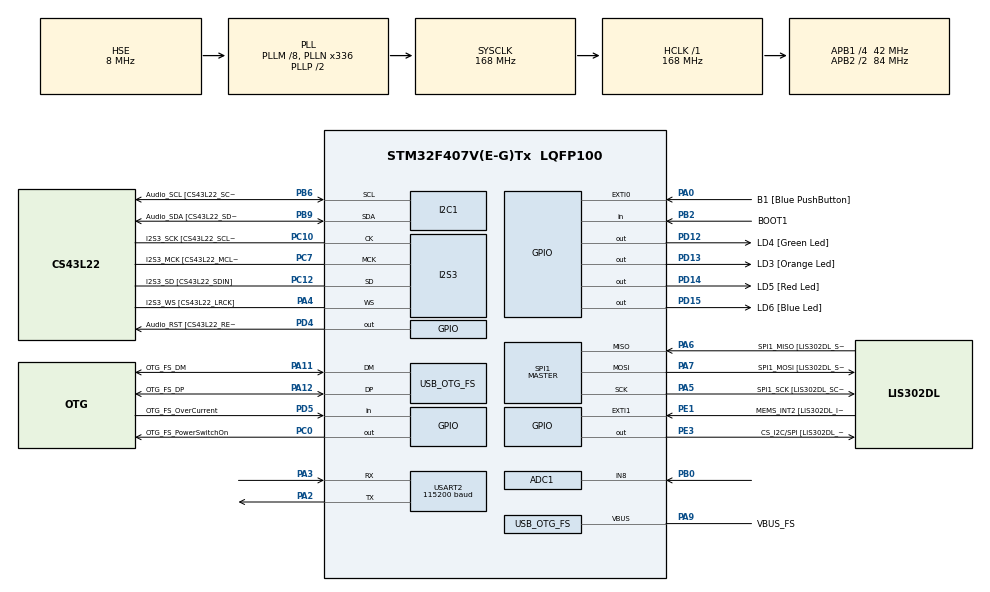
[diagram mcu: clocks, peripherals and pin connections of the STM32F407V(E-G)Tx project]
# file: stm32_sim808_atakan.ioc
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ADC1.Channel-1\#ChannelRegularConversion=ADC_CHANNEL_8
ADC1.ContinuousConvMode=ENABLE
ADC1.NbrOfConversionFlag=1
ADC1.Rank-1\#ChannelRegularConversion=1
ADC1.SamplingTime-1\#ChannelRegularConversion=ADC_SAMPLETIME_3CYCLES
ADC1.master=1
I2S3.AudioFreq-Half_Duplex_Master=I2S_AUDIOFREQ_96K
I2S3.ErrorAudioFreq=-2.34 %
I2S3.ErrorAudioFreq-Half_Duplex_Master=0.8 %
I2S3.FullDuplexMode=I2S_FULLDUPLEXMODE_DISABLE
I2S3.Instance=SPI$Index
I2S3.RealAudioFreq=93.75 KHz
I2S3.RealAudioFreq-Half_Duplex_Master=96.774 KHz
I2S3.VirtualMode=I2S_MODE_MASTER
Mcu.Family=STM32F4
Mcu.Name=STM32F407V(E-G)Tx
Mcu.Package=LQFP100
NVIC.OTG_FS_IRQn=true\:0\:0\:false\:false\:true\:true\:true\:true
NVIC.PriorityGroup=NVIC_PRIORITYGROUP_0
PA0-WKUP.GPIO_Label=B1 [Blue PushButton]
PA0-WKUP.GPIO_ModeDefaultEXTI=GPIO_MODE_EVT_RISING
PA0-WKUP.GPIO_PuPd=GPIO_NOPULL
PA0-WKUP.Signal=GPXTI0
PA10.GPIO_Label=OTG_FS_ID
PA10.GPIO_Mode=GPIO_MODE_AF_PP
PA10.GPIO_PuPd=GPIO_NOPULL
PA10.GPIO_Speed=GPIO_SPEED_FREQ_LOW
PA10.Signal=USB_OTG_FS_ID
PA11.GPIO_Label=OTG_FS_DM
PA11.GPIO_Mode=GPIO_MODE_AF_PP
PA11.GPIO_PuPd=GPIO_NOPULL
PA11.GPIO_Speed=GPIO_SPEED_FREQ_LOW
PA11.Mode=Host_Only
PA11.Signal=USB_OTG_FS_DM
PA12.GPIO_Label=OTG_FS_DP
PA12.GPIO_Mode=GPIO_MODE_AF_PP
PA12.GPIO_PuPd=GPIO_NOPULL
PA12.GPIO_Speed=GPIO_SPEED_FREQ_LOW
PA12.Mode=Host_Only
PA12.Signal=USB_OTG_FS_DP
PA13.GPIO_Label=SWDIO
PA13.Mode=Serial_Wire
PA13.Signal=SYS_JTMS-SWDIO
PA14.GPIO_Label=SWCLK
PA14.Mode=Serial_Wire
PA14.Signal=SYS_JTCK-SWCLK
PA2.Mode=Asynchronous
PA2.Signal=USART2_TX
PA3.Mode=Asynchronous
PA3.Signal=USART2_RX
PA4.GPIO_Label=I2S3_WS [CS43L22_LRCK]
PA4.GPIO_Mode=GPIO_MODE_AF_PP
PA4.GPIO_PuPd=GPIO_NOPULL
PA4.GPIO_Speed=GPIO_SPEED_FREQ_LOW
PA4.Mode=Half_Duplex_Master
PA4.Signal=I2S3_WS
PA5.GPIO_Label=SPI1_SCK [LIS302DL_SCL/SPC]
PA5.GPIO_Mode=GPIO_MODE_AF_PP
PA5.GPIO_PuPd=GPIO_NOPULL
PA5.GPIO_Speed=GPIO_SPEED_FREQ_LOW
PA5.Mode=Full_Duplex_Master
PA5.Signal=SPI1_SCK
PA6.GPIO_Label=SPI1_MISO [LIS302DL_SDO]
PA6.GPIO_Mode=GPIO_MODE_AF_PP
PA6.GPIO_PuPd=GPIO_NOPULL
PA6.GPIO_Speed=GPIO_SPEED_FREQ_LOW
PA6.Mode=Full_Duplex_Master
PA6.Signal=SPI1_MISO
PA7.GPIO_Label=SPI1_MOSI [LIS302DL_SDA/SDI/SDO]
PA7.GPIO_Mode=GPIO_MODE_AF_PP
PA7.GPIO_PuPd=GPIO_NOPULL
PA7.GPIO_Speed=GPIO_SPEED_FREQ_LOW
PA7.Mode=Full_Duplex_Master
PA7.Signal=SPI1_MOSI
PA9.GPIO_Label=VBUS_FS
PA9.GPIO_Mode=GPIO_MODE_INPUT
PA9.GPIO_PuPd=GPIO_NOPULL
PA9.Mode=Activate_VBUS
PA9.Signal=USB_OTG_FS_VBUS
PB0.Signal=ADCx_IN8
PB10.GPIO_Label=CLK_IN [MP45DT02_CLK]
PB10.GPIO_Mode=GPIO_MODE_AF_PP
PB10.GPIO_PuPd=GPIO_NOPULL
PB10.GPIO_Speed=GPIO_SPEED_FREQ_LOW
PB10.Signal=I2S2_CK
PB2.GPIO_Label=BOOT1
PB2.GPIO_Mode=GPIO_MODE_INPUT
PB2.GPIO_PuPd=GPIO_NOPULL
PB2.Signal=GPIO_Input
PB3.GPIO_Label=SWO
PB3.Signal=SYS_JTDO-SWO
PB6.GPIO_Label=Audio_SCL [CS43L22_SCL]
PB6.GPIO_Mode=GPIO_MODE_AF_OD
PB6.GPIO_Pu=GPIO_PULLUP
PB6.GPIO_PuPd=GPIO_NOPULL
PB6.GPIO_Speed=GPIO_SPEED_FREQ_LOW
PB6.Mode=I2C
PB6.Signal=I2C1_SCL
PB9.GPIO_Label=Audio_SDA [CS43L22_SDA]
PB9.GPIO_Mode=GPIO_MODE_AF_OD
PB9.GPIO_Pu=GPIO_PULLUP
PB9.GPIO_PuPd=GPIO_NOPULL
PB9.GPIO_Speed=GPIO_SPEED_FREQ_LOW
PB9.Mode=I2C
PB9.Signal=I2C1_SDA
PC0.GPIO_Label=OTG_FS_PowerSwitchOn
PC0.GPIO_PuPd=GPIO_NOPULL
PC0.GPIO_Speed=GPIO_SPEED_FREQ_LOW
PC0.PinState=GPIO_PIN_SET
PC0.Signal=GPIO_Output
PC10.GPIO_Label=I2S3_SCK [CS43L22_SCLK]
PC10.GPIO_Mode=GPIO_MODE_AF_PP
PC10.GPIO_PuPd=GPIO_NOPULL
PC10.GPIO_Speed=GPIO_SPEED_FREQ_LOW
PC10.Mode=Half_Duplex_Master
PC10.Signal=I2S3_CK
PC12.GPIO_Label=I2S3_SD [CS43L22_SDIN]
PC12.GPIO_Mode=GPIO_MODE_AF_PP
PC12.GPIO_PuPd=GPIO_NOPULL
PC12.GPIO_Speed=GPIO_SPEED_FREQ_LOW
PC12.Mode=Half_Duplex_Master
PC12.Signal=I2S3_SD
PC14-OSC32_IN.GPIO_Label=PC14-OSC32_IN
PC14-OSC32_IN.Mode=LSE-External-Oscillator
PC14-OSC32_IN.Signal=RCC_OSC32_IN
PC15-OSC32_OUT.GPIO_Label=PC15-OSC32_OUT
PC15-OSC32_OUT.Mode=LSE-External-Oscillator
PC15-OSC32_OUT.Signal=RCC_OSC32_OUT
PC3.GPIO_Label=PDM_OUT [MP45DT02_DOUT]
PC3.GPIO_Mode=GPIO_MODE_AF_PP
PC3.GPIO_PuPd=GPIO_NOPULL
PC3.GPIO_Speed=GPIO_SPEED_FREQ_LOW
PC3.Signal=I2S2_SD
PC7.GPIO_Label=I2S3_MCK [CS43L22_MCLK]
PC7.GPIO_Mode=GPIO_MODE_AF_PP
PC7.GPIO_PuPd=GPIO_NOPULL
PC7.GPIO_Speed=GPIO_SPEED_FREQ_LOW
PC7.Mode=Master_Clock_Activated
PC7.Signal=I2S3_MCK
PD12.GPIO_Label=LD4 [Green Led]
PD12.GPIO_PuPd=GPIO_NOPULL
PD12.GPIO_Speed=GPIO_SPEED_FREQ_LOW
PD12.Signal=GPIO_Output
PD13.GPIO_Label=LD3 [Orange Led]
PD13.GPIO_PuPd=GPIO_NOPULL
PD13.GPIO_Speed=GPIO_SPEED_FREQ_LOW
PD13.Signal=GPIO_Output
PD14.GPIO_Label=LD5 [Red Led]
PD14.GPIO_PuPd=GPIO_NOPULL
PD14.GPIO_Speed=GPIO_SPEED_FREQ_LOW
PD14.Signal=GPIO_Output
PD15.GPIO_Label=LD6 [Blue Led]
PD15.GPIO_PuPd=GPIO_NOPULL
PD15.GPIO_Speed=GPIO_SPEED_FREQ_LOW
PD15.Signal=GPIO_Output
PD4.GPIO_Label=Audio_RST [CS43L22_RESET]
PD4.GPIO_PuPd=GPIO_NOPULL
PD4.GPIO_Speed=GPIO_SPEED_FREQ_LOW
PD4.Signal=GPIO_Output
PD5.GPIO_Label=OTG_FS_OverCurrent
PD5.GPIO_Mode=GPIO_MODE_INPUT
PD5.GPIO_PuPd=GPIO_NOPULL
PD5.Signal=GPIO_Input
PE1.GPIO_Label=MEMS_INT2 [LIS302DL_INT2]
PE1.GPIO_ModeDefaultEXTI=GPIO_MODE_EVT_RISING
PE1.GPIO_PuPd=GPIO_NOPULL
PE1.Signal=GPXTI1
PE3.GPIO_Label=CS_I2C/SPI [LIS302DL_CS_I2C/SPI]
PE3.GPIO_PuPd=GPIO_NOPULL
PE3.GPIO_Speed=GPIO_SPEED_FREQ_LOW
PE3.Signal=GPIO_Output
PH0-OSC_IN.GPIO_Label=PH0-OSC_IN
PH0-OSC_IN.Mode=HSE-External-Oscillator
PH0-OSC_IN.Signal=RCC_OSC_IN
PH1-OSC_OUT.GPIO_Label=PH1-OSC_OUT
PH1-OSC_OUT.Mode=HSE-External-Oscillator
PH1-OSC_OUT.Signal=RCC_OSC_OUT
ProjectManager.HeapSize=0x200
ProjectManager.StackSize=0x400
ProjectManager.TargetToolchain=STM32CubeIDE
RCC.48MHZClocksFreq_Value=48000000
RCC.AHBFreq_Value=168000000
RCC.APB1CLKDivider=RCC_HCLK_DIV4
RCC.APB1Freq_Value=42000000
RCC.APB1TimFreq_Value=84000000
RCC.APB2CLKDivider=RCC_HCLK_DIV2
RCC.APB2Freq_Value=84000000
RCC.APB2TimFreq_Value=168000000
RCC.CortexFreq_Value=168000000
RCC.HCLKFreq_Value=168000000
RCC.HSE_VALUE=8000000
RCC.HSI_VALUE=16000000
RCC.PLLM=8
RCC.PLLN=336
RCC.PLLQ=7
RCC.SYSCLKFreq_VALUE=168000000
RCC.SYSCLKSource=RCC_SYSCLKSOURCE_PLLCLK
RCC.VCOOutputFreq_Value=336000000
SH.ADCx_IN8.0=ADC1_IN8,IN8
SPI1.BaudRatePrescaler-Full_Duplex_Master=SPI_BAUDRATEPRESCALER_2
SPI1.CalculateBaudRate-Full_Duplex_Master=42.0 MBits/s
SPI1.Direction=SPI_DIRECTION_2LINES
SPI1.Mode=SPI_MODE_MASTER
SPI1.Mode-Full_Duplex_Master=SPI_MODE_MASTER
SPI1.VirtualType=VM_MASTER
USART2.BaudRate=115200
USART2.VirtualMode=VM_ASYNC
USB_HOST.BSP.number=1
USB_HOST.USBH_HandleTypeDef-CDC_FS=hUsbHostFS
USB_HOST.VirtualModeFS=Cdc
USB_HOST0.BSP.STBoard=false
USB_HOST0.BSP.api=Unknown
USB_HOST0.BSP.instance=PC0
USB_HOST0.BSP.ip=GPIO
USB_HOST0.BSP.mode=Output
USB_HOST0.BSP.name=Drive_VBUS_FS
USB_HOST0.BSP.solution=PC0
USB_OTG_FS.VirtualMode=Host_Only
USB_OTG_FS.phy_itface=HCD_PHY_EMBEDDED
VP_USB_HOST_VS_USB_HOST_CDC_FS.Mode=CDC_FS
board=STM32F407G-DISC1

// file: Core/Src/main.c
/* USER CODE BEGIN Header */
/**
  ******************************************************************************
  * @file           : main.c
  * @brief          : Main program body
  ******************************************************************************
  * @attention
  *
  * Copyright (c) 2025 STMicroelectronics.
  * All rights reserved.
  *
  * This software is licensed under terms that can be found in the LICENSE file
  * in the root directory of this software component.
  * If no LICENSE file comes with this software, it is provided AS-IS.
  *
  ******************************************************************************
  */
/* USER CODE END Header */
#include "main.h"
#include "usb_host.h"

/* USER CODE BEGIN Includes */
#include <string.h>
#include <stdio.h>
#include <stdlib.h> // rand() ve srand() için
#include <time.h>   // srand() için

/* USER CODE END Includes */

ADC_HandleTypeDef hadc1;

I2C_HandleTypeDef hi2c1;

I2S_HandleTypeDef hi2s3;

SPI_HandleTypeDef hspi1;

UART_HandleTypeDef huart2;

/* USER CODE BEGIN PV */
float pot=0;
float hiz=0.0;
/* USER CODE END PV */

void SystemClock_Config(void);
static void MX_GPIO_Init(void);
static void MX_I2C1_Init(void);
static void MX_I2S3_Init(void);
static void MX_SPI1_Init(void);
static void MX_USART2_UART_Init(void);
static void MX_ADC1_Init(void);
void MX_USB_HOST_Process(void);

/* USER CODE BEGIN PFP */
void send_at_command(char *command, uint16_t delay);
void send_data_to_server(float voltages[20], float temperatures[6], float current, float speed, float energy, float voltage_sum);
void send_data_cont(float voltages[20], float temperatures[6], float current, float speed, float energy, float voltage_sum);
float get_gps_speed();
/* USER CODE END PFP */

/* USER CODE BEGIN 0 */
struct carData{
	  float voltage1;
	  float voltage2;
	  float voltage3;
	  float voltage4;
	  float voltage5;
	  float voltage6;
	  float voltage7;
	  float voltage8;
	  float voltage9;
	  float voltage10;
	  float voltage11;
	  float voltage12;
	  float voltage13;
	  float voltage14;
	  float voltage15;
	  float voltage16;
	  float voltage17;
	  float voltage18;
	  float voltage19;
	  float voltage20;
	  float totalVoltage;
	  float batteryTemp1;
	  float batteryTemp2;
	  float batteryTemp3;
	  float batteryTemp4;
	  float testTemp;
	  float motorTemp;
	  float speed;
	  float current;
	  float remainEnergy;
}data1;

/* USER CODE END 0 */

int main(void)
{

  /* MCU Configuration--------------------------------------------------------*/

  /* Reset of all peripherals, Initializes the Flash interface and the Systick. */
  HAL_Init();

  /* Configure the system clock */
  SystemClock_Config();

  /* Initialize all configured peripherals */
  MX_GPIO_Init();
  MX_I2C1_Init();
  MX_I2S3_Init();
  MX_SPI1_Init();
  MX_USB_HOST_Init();
  MX_USART2_UART_Init();
  MX_ADC1_Init();
  /* USER CODE BEGIN 2 */
  float voltages[20] = {
      	             99.99, 99.99, 99.99, 99.99, 99.99, 99.99, 99.99, 99.99, 99.99, 99.99,
      	             99.99, 99.99, 99.99, 99.99, 99.99, 99.99, 99.99, 99.99, 99.99, 99.99};

      	  float temperatures[6] = {99.99, 99.99, 99.99, 99.99, 99.99, 99.99};
      	  float current = 99.99;
      	  float speed = 99.99;
      	  float energy = 99.99;
      	  float voltage_sum = 99.99;

  srand(HAL_GetTick());
  send_data_to_server(voltages, temperatures, current, speed, energy, voltage_sum);
  HAL_Delay(1000);
  //get_gps_speed();
  //HAL_Delay(1000);

  /* USER CODE END 2 */

  /* Infinite loop */
  while (1)
  {
    MX_USB_HOST_Process();

    /* USER CODE BEGIN 3 */
    //HAL_ADC_Start(&hadc1);
    //if (HAL_ADC_PollForConversion(&hadc1, HAL_MAX_DELAY) == HAL_OK) {
        //pot = HAL_ADC_GetValue(&hadc1);
    //}
    //mapped=pot/16;
    //get_gps_speed();
    float voltages[20] = {
    	             pot, ((float)(rand()%40)), ((float)(rand()%40)), ((float)(rand()%40)), ((float)(rand()%40)), ((float)(rand()%40)), ((float)(rand()%40)), ((float)(rand()%40)), ((float)(rand()%40)), ((float)(rand()%40)),
					 ((float)(rand()%40)), ((float)(rand()%40)), ((float)(rand()%40)), ((float)(rand()%40)), ((float)(rand()%40)), ((float)(rand()%40)), ((float)(rand()%40)), ((float)(rand()%40)), ((float)(rand()%40))};

    	  float temperatures[6] = {22.3, 23.0, 21.8, 22.5, 23.1, 22.9};
    	  float current = (5+(float)(rand()%30));
    	  float speed = hiz ;
    	  float energy = (60+(float)(rand()%102));
    	  float voltage_sum = 250.0;

    	  send_data_cont(voltages, temperatures, current, speed, energy, voltage_sum);
    	  //HAL_Delay(10);

  }
  //HAL_ADC_Stop(&hadc1);
  /* USER CODE END 3 */
}

void SystemClock_Config(void)
{
  RCC_OscInitTypeDef RCC_OscInitStruct = {0};
  RCC_ClkInitTypeDef RCC_ClkInitStruct = {0};

  /** Configure the main internal regulator output voltage
  */
  __HAL_RCC_PWR_CLK_ENABLE();
  __HAL_PWR_VOLTAGESCALING_CONFIG(PWR_REGULATOR_VOLTAGE_SCALE1);

  /** Initializes the RCC Oscillators according to the specified parameters
  * in the RCC_OscInitTypeDef structure.
  */
  RCC_OscInitStruct.OscillatorType = RCC_OSCILLATORTYPE_HSE;
  RCC_OscInitStruct.HSEState = RCC_HSE_ON;
  RCC_OscInitStruct.PLL.PLLState = RCC_PLL_ON;
  RCC_OscInitStruct.PLL.PLLSource = RCC_PLLSOURCE_HSE;
  RCC_OscInitStruct.PLL.PLLM = 8;
  RCC_OscInitStruct.PLL.PLLN = 336;
  RCC_OscInitStruct.PLL.PLLP = RCC_PLLP_DIV2;
  RCC_OscInitStruct.PLL.PLLQ = 7;
  if (HAL_RCC_OscConfig(&RCC_OscInitStruct) != HAL_OK)
  {
    Error_Handler();
  }

  /** Initializes the CPU, AHB and APB buses clocks
  */
  RCC_ClkInitStruct.ClockType = RCC_CLOCKTYPE_HCLK|RCC_CLOCKTYPE_SYSCLK
                              |RCC_CLOCKTYPE_PCLK1|RCC_CLOCKTYPE_PCLK2;
  RCC_ClkInitStruct.SYSCLKSource = RCC_SYSCLKSOURCE_PLLCLK;
  RCC_ClkInitStruct.AHBCLKDivider = RCC_SYSCLK_DIV1;
  RCC_ClkInitStruct.APB1CLKDivider = RCC_HCLK_DIV4;
  RCC_ClkInitStruct.APB2CLKDivider = RCC_HCLK_DIV2;

  if (HAL_RCC_ClockConfig(&RCC_ClkInitStruct, FLASH_LATENCY_5) != HAL_OK)
  {
    Error_Handler();
  }
}

static void MX_ADC1_Init(void)
{

  ADC_ChannelConfTypeDef sConfig = {0};

  /** Configure the global features of the ADC (Clock, Resolution, Data Alignment and number of conversion)
  */
  hadc1.Instance = ADC1;
  hadc1.Init.ClockPrescaler = ADC_CLOCK_SYNC_PCLK_DIV4;
  hadc1.Init.Resolution = ADC_RESOLUTION_12B;
  hadc1.Init.ScanConvMode = DISABLE;
  hadc1.Init.ContinuousConvMode = ENABLE;
  hadc1.Init.DiscontinuousConvMode = DISABLE;
  hadc1.Init.ExternalTrigConvEdge = ADC_EXTERNALTRIGCONVEDGE_NONE;
  hadc1.Init.ExternalTrigConv = ADC_SOFTWARE_START;
  hadc1.Init.DataAlign = ADC_DATAALIGN_RIGHT;
  hadc1.Init.NbrOfConversion = 1;
  hadc1.Init.DMAContinuousRequests = DISABLE;
  hadc1.Init.EOCSelection = ADC_EOC_SINGLE_CONV;
  if (HAL_ADC_Init(&hadc1) != HAL_OK)
  {
    Error_Handler();
  }

  /** Configure for the selected ADC regular channel its corresponding rank in the sequencer and its sample time.
  */
  sConfig.Channel = ADC_CHANNEL_8;
  sConfig.Rank = 1;
  sConfig.SamplingTime = ADC_SAMPLETIME_3CYCLES;
  if (HAL_ADC_ConfigChannel(&hadc1, &sConfig) != HAL_OK)
  {
    Error_Handler();
  }

}

static void MX_I2C1_Init(void)
{

  hi2c1.Instance = I2C1;
  hi2c1.Init.ClockSpeed = 100000;
  hi2c1.Init.DutyCycle = I2C_DUTYCYCLE_2;
  hi2c1.Init.OwnAddress1 = 0;
  hi2c1.Init.AddressingMode = I2C_ADDRESSINGMODE_7BIT;
  hi2c1.Init.DualAddressMode = I2C_DUALADDRESS_DISABLE;
  hi2c1.Init.OwnAddress2 = 0;
  hi2c1.Init.GeneralCallMode = I2C_GENERALCALL_DISABLE;
  hi2c1.Init.NoStretchMode = I2C_NOSTRETCH_DISABLE;
  if (HAL_I2C_Init(&hi2c1) != HAL_OK)
  {
    Error_Handler();
  }

}

static void MX_I2S3_Init(void)
{

  hi2s3.Instance = SPI3;
  hi2s3.Init.Mode = I2S_MODE_MASTER_TX;
  hi2s3.Init.Standard = I2S_STANDARD_PHILIPS;
  hi2s3.Init.DataFormat = I2S_DATAFORMAT_16B;
  hi2s3.Init.MCLKOutput = I2S_MCLKOUTPUT_ENABLE;
  hi2s3.Init.AudioFreq = I2S_AUDIOFREQ_96K;
  hi2s3.Init.CPOL = I2S_CPOL_LOW;
  hi2s3.Init.ClockSource = I2S_CLOCK_PLL;
  hi2s3.Init.FullDuplexMode = I2S_FULLDUPLEXMODE_DISABLE;
  if (HAL_I2S_Init(&hi2s3) != HAL_OK)
  {
    Error_Handler();
  }

}

static void MX_SPI1_Init(void)
{

  /* SPI1 parameter configuration*/
  hspi1.Instance = SPI1;
  hspi1.Init.Mode = SPI_MODE_MASTER;
  hspi1.Init.Direction = SPI_DIRECTION_2LINES;
  hspi1.Init.DataSize = SPI_DATASIZE_8BIT;
  hspi1.Init.CLKPolarity = SPI_POLARITY_LOW;
  hspi1.Init.CLKPhase = SPI_PHASE_1EDGE;
  hspi1.Init.NSS = SPI_NSS_SOFT;
  hspi1.Init.BaudRatePrescaler = SPI_BAUDRATEPRESCALER_2;
  hspi1.Init.FirstBit = SPI_FIRSTBIT_MSB;
  hspi1.Init.TIMode = SPI_TIMODE_DISABLE;
  hspi1.Init.CRCCalculation = SPI_CRCCALCULATION_DISABLE;
  hspi1.Init.CRCPolynomial = 10;
  if (HAL_SPI_Init(&hspi1) != HAL_OK)
  {
    Error_Handler();
  }

}

static void MX_USART2_UART_Init(void)
{

  huart2.Instance = USART2;
  huart2.Init.BaudRate = 115200;
  huart2.Init.WordLength = UART_WORDLENGTH_8B;
  huart2.Init.StopBits = UART_STOPBITS_1;
  huart2.Init.Parity = UART_PARITY_NONE;
  huart2.Init.Mode = UART_MODE_TX_RX;
  huart2.Init.HwFlowCtl = UART_HWCONTROL_NONE;
  huart2.Init.OverSampling = UART_OVERSAMPLING_16;
  if (HAL_UART_Init(&huart2) != HAL_OK)
  {
    Error_Handler();
  }

}

static void MX_GPIO_Init(void)
{
  GPIO_InitTypeDef GPIO_InitStruct = {0};

  /* GPIO Ports Clock Enable */
  __HAL_RCC_GPIOE_CLK_ENABLE();
  __HAL_RCC_GPIOC_CLK_ENABLE();
  __HAL_RCC_GPIOH_CLK_ENABLE();
  __HAL_RCC_GPIOA_CLK_ENABLE();
  __HAL_RCC_GPIOB_CLK_ENABLE();
  __HAL_RCC_GPIOD_CLK_ENABLE();

  /*Configure GPIO pin Output Level */
  HAL_GPIO_WritePin(CS_I2C_SPI_GPIO_Port, CS_I2C_SPI_Pin, GPIO_PIN_RESET);

  /*Configure GPIO pin Output Level */
  HAL_GPIO_WritePin(OTG_FS_PowerSwitchOn_GPIO_Port, OTG_FS_PowerSwitchOn_Pin, GPIO_PIN_SET);

  /*Configure GPIO pin Output Level */
  HAL_GPIO_WritePin(GPIOD, LD4_Pin|LD3_Pin|LD5_Pin|LD6_Pin
                          |Audio_RST_Pin, GPIO_PIN_RESET);

  /*Configure GPIO pin : CS_I2C_SPI_Pin */
  GPIO_InitStruct.Pin = CS_I2C_SPI_Pin;
  GPIO_InitStruct.Mode = GPIO_MODE_OUTPUT_PP;
  GPIO_InitStruct.Pull = GPIO_NOPULL;
  GPIO_InitStruct.Speed = GPIO_SPEED_FREQ_LOW;
  HAL_GPIO_Init(CS_I2C_SPI_GPIO_Port, &GPIO_InitStruct);

  /*Configure GPIO pin : OTG_FS_PowerSwitchOn_Pin */
  GPIO_InitStruct.Pin = OTG_FS_PowerSwitchOn_Pin;
  GPIO_InitStruct.Mode = GPIO_MODE_OUTPUT_PP;
  GPIO_InitStruct.Pull = GPIO_NOPULL;
  GPIO_InitStruct.Speed = GPIO_SPEED_FREQ_LOW;
  HAL_GPIO_Init(OTG_FS_PowerSwitchOn_GPIO_Port, &GPIO_InitStruct);

  /*Configure GPIO pin : PDM_OUT_Pin */
  GPIO_InitStruct.Pin = PDM_OUT_Pin;
  GPIO_InitStruct.Mode = GPIO_MODE_AF_PP;
  GPIO_InitStruct.Pull = GPIO_NOPULL;
  GPIO_InitStruct.Speed = GPIO_SPEED_FREQ_LOW;
  GPIO_InitStruct.Alternate = GPIO_AF5_SPI2;
  HAL_GPIO_Init(PDM_OUT_GPIO_Port, &GPIO_InitStruct);

  /*Configure GPIO pin : B1_Pin */
  GPIO_InitStruct.Pin = B1_Pin;
  GPIO_InitStruct.Mode = GPIO_MODE_EVT_RISING;
  GPIO_InitStruct.Pull = GPIO_NOPULL;
  HAL_GPIO_Init(B1_GPIO_Port, &GPIO_InitStruct);

  /*Configure GPIO pin : BOOT1_Pin */
  GPIO_InitStruct.Pin = BOOT1_Pin;
  GPIO_InitStruct.Mode = GPIO_MODE_INPUT;
  GPIO_InitStruct.Pull = GPIO_NOPULL;
  HAL_GPIO_Init(BOOT1_GPIO_Port, &GPIO_InitStruct);

  /*Configure GPIO pin : CLK_IN_Pin */
  GPIO_InitStruct.Pin = CLK_IN_Pin;
  GPIO_InitStruct.Mode = GPIO_MODE_AF_PP;
  GPIO_InitStruct.Pull = GPIO_NOPULL;
  GPIO_InitStruct.Speed = GPIO_SPEED_FREQ_LOW;
  GPIO_InitStruct.Alternate = GPIO_AF5_SPI2;
  HAL_GPIO_Init(CLK_IN_GPIO_Port, &GPIO_InitStruct);

  /*Configure GPIO pins : LD4_Pin LD3_Pin LD5_Pin LD6_Pin
                           Audio_RST_Pin */
  GPIO_InitStruct.Pin = LD4_Pin|LD3_Pin|LD5_Pin|LD6_Pin
                          |Audio_RST_Pin;
  GPIO_InitStruct.Mode = GPIO_MODE_OUTPUT_PP;
  GPIO_InitStruct.Pull = GPIO_NOPULL;
  GPIO_InitStruct.Speed = GPIO_SPEED_FREQ_LOW;
  HAL_GPIO_Init(GPIOD, &GPIO_InitStruct);

  /*Configure GPIO pin : OTG_FS_OverCurrent_Pin */
  GPIO_InitStruct.Pin = OTG_FS_OverCurrent_Pin;
  GPIO_InitStruct.Mode = GPIO_MODE_INPUT;
  GPIO_InitStruct.Pull = GPIO_NOPULL;
  HAL_GPIO_Init(OTG_FS_OverCurrent_GPIO_Port, &GPIO_InitStruct);

  /*Configure GPIO pin : MEMS_INT2_Pin */
  GPIO_InitStruct.Pin = MEMS_INT2_Pin;
  GPIO_InitStruct.Mode = GPIO_MODE_EVT_RISING;
  GPIO_InitStruct.Pull = GPIO_NOPULL;
  HAL_GPIO_Init(MEMS_INT2_GPIO_Port, &GPIO_InitStruct);

}

/* USER CODE BEGIN 4 */
void send_at_command(char *command, uint16_t delay) {
    HAL_UART_Transmit(&huart2, (uint8_t *)command, strlen(command), HAL_MAX_DELAY);
    HAL_Delay(delay); // SIM808'den cevap beklemek için gecikme
}

/*float get_gps_speed() {
    char response[256];
    float hiz = 0.0;

    // GPS güç kontrolü ve veri talebi
    send_at_command("AT+CGNSPWR=1\r\n", 1000);  // GPS modülünü aç
    HAL_Delay(1000);  // GPS modülünün aktif hale gelmesi için bekleme
    send_at_command("AT+CGNSINF\r\n", 1000);  // GPS bilgi talebi

    // Yanıtı ayrıştır ve hız bilgisini al
    // +CGNSINF: 1,1,<UTC>,<Latitude>,<Longitude>,<Altitude>,<Speed>,...
    sscanf(response, "+CGNSINF: 1,1,%*[^,],%*[^,],%*[^,],%*[^,],%f", &hiz);

    // GPS modülünü kapat (isteğe bağlı)
    //send_at_command("AT+CGNSPWR=0\r\n", 1000);

    return hiz;
}*/

void send_data_cont(float voltages[20], float temperatures[6], float current, float speed, float energy, float voltage_sum){
	char http_data[64];
	char json_payload[1024]; //voltage 1 vs gibi isimleri yeni database icin v1 v2 vs gibi degistir
	sprintf(json_payload,"{\"v1\": %.2f, \"v2\": %.2f, \"v3\": %.2f, \"v4\": %.2f, "
	            "\"v5\": %.2f, \"v6\": %.2f, \"v7\": %.2f, \"v8\": %.2f, "
	            "\"v9\": %.2f, \"v10\": %.2f, \"v11\": %.2f, \"v12\": %.2f, "
	            "\"v13\": %.2f, \"v14\": %.2f, \"v15\": %.2f, \"v16\": %.2f, "
	            "\"v17\": %.2f, \"v18\": %.2f, \"v19\": %.2f, \"v20\": %.2f, "
	            "\"vt\": %.2f, \"s1\": %.2f, \"s2\": %.2f, "
	            "\"s3\": %.2f, \"s4\": %.2f, \"s5\": %.2f, \"s6\": %.2f, "
	            "\"a\": %.2f, \"h\": %.2f, \"kE\": %.2f}",
	            voltages[0], voltages[1], voltages[2], voltages[3], voltages[4],
	            voltages[5], voltages[6], voltages[7], voltages[8], voltages[9],
	            voltages[10], voltages[11], voltages[12], voltages[13], voltages[14],
	            voltages[15], voltages[16], voltages[17], voltages[18], voltages[19],
	            voltage_sum, temperatures[0], temperatures[1], temperatures[2],
	            temperatures[3], temperatures[4], temperatures[5], current, speed, energy);
	sprintf(http_data, "AT+HTTPDATA=%d,5000\r\n", strlen(json_payload));
    send_at_command(http_data, 100);
    send_at_command(json_payload, 100);

    // POST isteği gönder
    send_at_command("AT+HTTPACTION=1\r\n", 100); // 1: POST
    HAL_Delay(1000); // Veriyi göndermek için biraz zaman tanı

}

void send_data_to_server(float voltages[20], float temperatures[6], float current, float speed, float energy, float voltage_sum) {
    char apn_setup[64];
    char http_init[32];
    char http_start[128];
    char http_data[64];
    char json_payload[2048];

    // JSON payload
    sprintf(json_payload,"{\"v1\": %.2f, \"v2\": %.2f, \"v3\": %.2f, \"v4\": %.2f, "
            "\"v5\": %.2f, \"v6\": %.2f, \"v7\": %.2f, \"v8\": %.2f, "
            "\"v9\": %.2f, \"v10\": %.2f, \"v11\": %.2f, \"v12\": %.2f, "
            "\"v13\": %.2f, \"v14\": %.2f, \"v15\": %.2f, \"v16\": %.2f, "
            "\"v17\": %.2f, \"v18\": %.2f, \"v19\": %.2f, \"v20\": %.2f, "
            "\"vt\": %.2f, \"s1\": %.2f, \"s2\": %.2f, "
            "\"s3\": %.2f, \"s4\": %.2f, \"s5\": %.2f, \"s6\": %.2f, "
            "\"a\": %.2f, \"h\": %.2f, \"kE\": %.2f}",
            voltages[0], voltages[1], voltages[2], voltages[3], voltages[4],
            voltages[5], voltages[6], voltages[7], voltages[8], voltages[9],
            voltages[10], voltages[11], voltages[12], voltages[13], voltages[14],
            voltages[15], voltages[16], voltages[17], voltages[18], voltages[19],
            voltage_sum, temperatures[0], temperatures[1], temperatures[2],
            temperatures[3], temperatures[4], temperatures[5], current, speed, energy);

    // SIM808 başlatma
    send_at_command("AT\r\n", 1000); // AT komutuyla modülü kontrol et
    send_at_command("AT+SAPBR=3,1,\"CONTYPE\",\"GPRS\"\r\n", 1000); // GPRS yapılandırması
    sprintf(apn_setup, "AT+SAPBR=3,1,\"APN\",\"internet\"\r\n"); // APN'i "internet" olarak ayarla
    send_at_command(apn_setup, 1000);
    send_at_command("AT+SAPBR=1,1\r\n", 1000); // GPRS oturumunu başlat

    // HTTP başlatma
    send_at_command("AT+HTTPINIT\r\n", 1000); // HTTP başlat
    sprintf(http_init, "AT+HTTPPARA=\"CID\",1\r\n");
    send_at_command(http_init, 1000);
    send_at_command("AT+HTTPPARA=\"CONTENT\",\"application/json\"\r\n", 1000);//FORMATI BELİRTİYOR
    sprintf(http_start, "AT+HTTPPARA=\"URL\",\"http://maveratelemetry.somee.com/api/SensorData\"\r\n");
    send_at_command(http_start, 1000);

    // JSON içeriği gönderme
    sprintf(http_data, "AT+HTTPDATA=%d,10000\r\n", strlen(json_payload));
    send_at_command(http_data, 1000);
    send_at_command(json_payload, 1000);

    // POST isteği gönder
    send_at_command("AT+HTTPACTION=1\r\n", 1000); // 1: POST
    HAL_Delay(5000); // Veriyi göndermek için biraz zaman tanı

    // HTTP sonlandırma
    //send_at_command("AT+HTTPREAD\r\n", 1000);
    //send_at_command("AT+HTTPTERM\r\n", 1000); // HTTP oturumunu kapat
    }

/* USER CODE END 4 */

void Error_Handler(void)
{
  __disable_irq();
  while (1)
  {
  }
}
